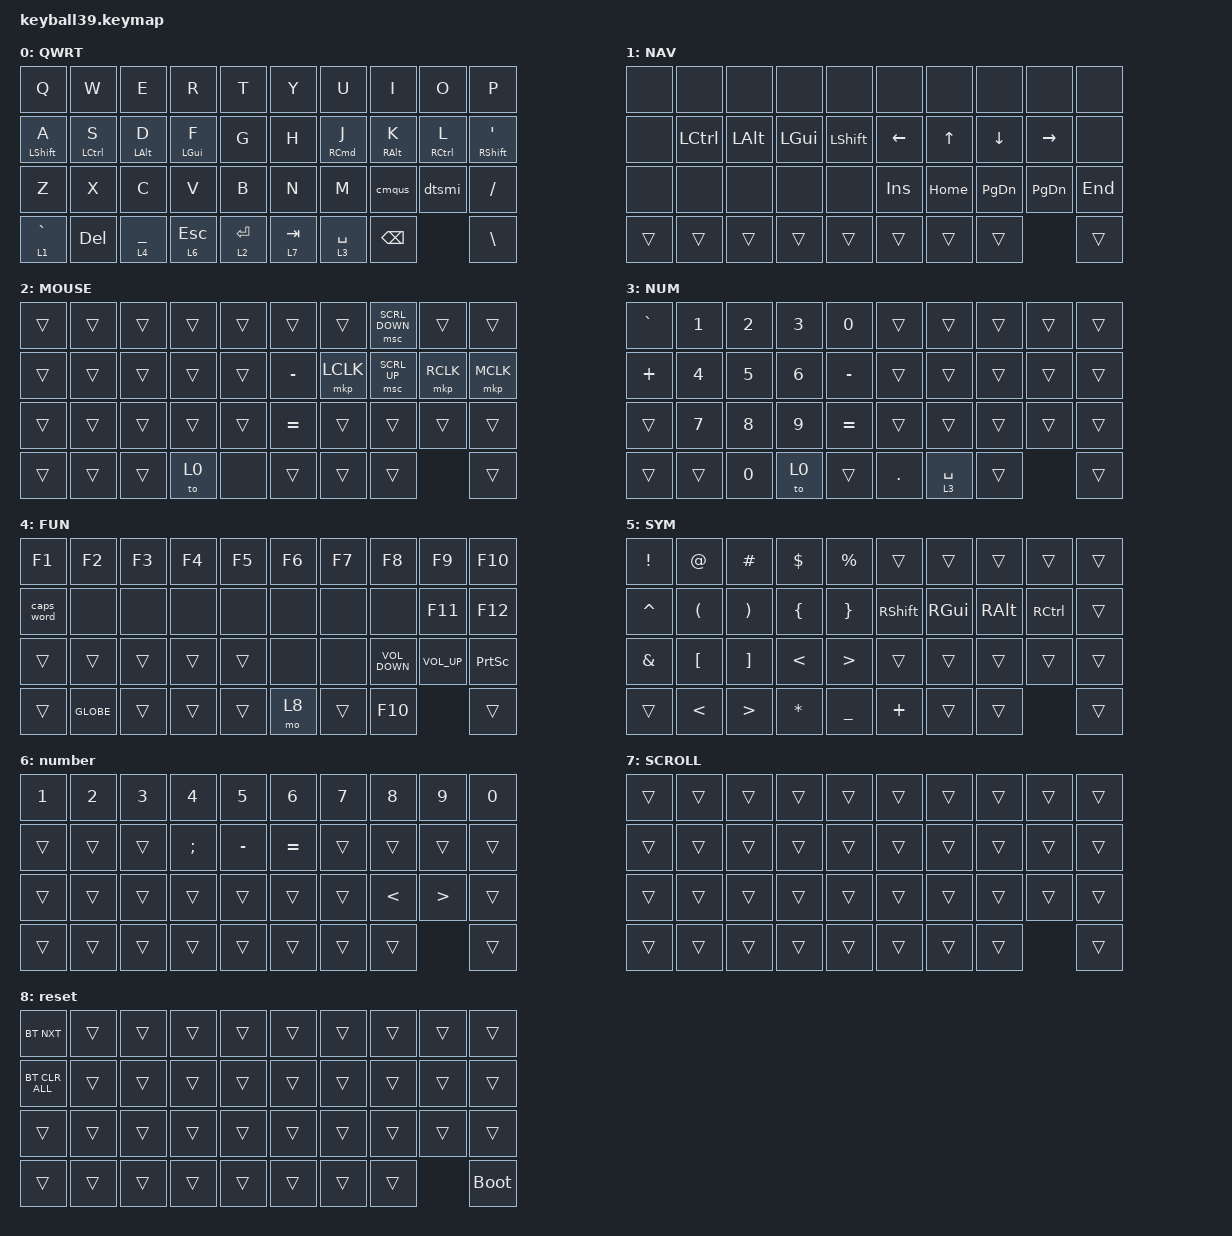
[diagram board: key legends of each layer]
#define DEFAULT 0
#define NUM     1
#define SYM     2
#define FUN     3
#define MOUSE   4
#define SCROLL  5
#define SNIPE   6

#include <behaviors/mouse_keys.dtsi>
#include <dt-bindings/zmk/mouse.h>
#include <behaviors.dtsi>
#include <dt-bindings/zmk/bt.h>
#include <dt-bindings/zmk/keys.h>
#include <dt-bindings/zmk/pointing.h>

&lt {
    tapping-term-ms = <240>;
    flavor = "balanced";
    quick-tap-ms = <150>;
};

&mt {
    tapping-term-ms = <200>;
    flavor = "tap-preferred";
    quick-tap-ms = <150>;
};

&caps_word { continue-list = <UNDERSCORE MINUS>; };

/ {
    // custom shift using mod-morph 

    behaviors {
        cmqus: comma_question {
            compatible = "zmk,behavior-mod-morph";
            label = "COMMA_QUESTION";
            #binding-cells = <0>;
            bindings = <&kp COMMA>, <&kp SEMICOLON>;

            mods = <(MOD_LSFT|MOD_RSFT)>;
        };

        dtsmi: dot_semi {
            compatible = "zmk,behavior-mod-morph";
            label = "DOT_SEMI";
            #binding-cells = <0>;
            bindings = <&kp DOT>, <&kp COLON>;

            mods = <(MOD_LSFT|MOD_RSFT)>;
        };

        left_hmr_tap: left_hmr_tap {
            compatible = "zmk,behavior-hold-tap";
            label = "LEFT_HMR_TAP";
            bindings = <&kp>, <&kp>;

            #binding-cells = <2>;
            tapping-term-ms = <280>;
            flavor = "balanced";
            hold-trigger-key-positions = <5 6 7 8 9 15 16 17 18 19 25 26 27 28 29 37 38 36>;
            quick-tap-ms = <175>;
            require-prior-idle-ms = <175>;
            hold-trigger-on-release;
        };

        right_hmr_tap: right_hmr_tap {
            compatible = "zmk,behavior-hold-tap";
            label = "RIGHT_HMR_TAP";
            bindings = <&kp>, <&kp>;

            #binding-cells = <2>;
            tapping-term-ms = <280>;
            flavor = "balanced";
            hold-trigger-key-positions = <4 0 1 2 3 4 10 11 12 13 14 20 21 22 23 24 30 31 32 33 34 35>;
            quick-tap-ms = <175>;
            require-prior-idle-ms = <175>;
            hold-trigger-on-release;
        };

        nav_modifier_hold: nav_modifier_hold {
            compatible = "zmk,behavior-hold-tap";
            label = "NAV_MODIFIER_HOLD";
            bindings = <&mo>, <&kp>;

            #binding-cells = <2>;
            tapping-term-ms = <150>;
            quick-tap-ms = <150>;
            require-prior-idle-ms = <(-1)>;
            flavor = "balanced";
            hold-trigger-key-positions = <16 15 17 18 19 25 26 27 28 29>;
            hold-while-undecided;
        };

        smart_mouse: smart_mouse {
            compatible = "zmk,behavior-auto-layer";
            #binding-cells = <1>;
            continue-list = <LCLK RCLK UP_ARROW DOWN_ARROW>;
            ignore-modifiers;
        };
    };

    macros {
        Hiragana: Hiragana {
            compatible = "zmk,behavior-macro";
            #binding-cells = <0>;
            bindings = <&kp LC(SPACE)>;
            label = "HIRAGANA";
        };
    };

    combos {
        compatible = "zmk,combos";

        jump_word_left {
            bindings = <&kp RA(LEFT)>;
            key-positions = <16 17>;
            layers = <1>;
            require-prior-idle-ms = <150>;
        };

        jump_word_right {
            bindings = <&kp RA(RIGHT)>;
            key-positions = <17 18>;
            layers = <1>;
            require-prior-idle-ms = <150>;
            slow-release;
        };

        jump_line_right {
            bindings = <&kp RG(RIGHT)>;
            key-positions = <18 19>;
            layers = <1>;
            require-prior-idle-ms = <150>;
        };

        jump_line_left {
            bindings = <&kp RG(LEFT)>;
            key-positions = <15 16>;
            layers = <1>;
            require-prior-idle-ms = <150>;
        };

        left-paren {
            bindings = <&kp LEFT_PARENTHESIS>;
            key-positions = <7 8>;
            layers = <0>;
            require-prior-idle-ms = <150>;
        };

        right-paren {
            bindings = <&kp RIGHT_PARENTHESIS>;
            key-positions = <8 9>;
            layers = <0>;
            require-prior-idle-ms = <150>;
        };

        left-bracket {
            bindings = <&kp LEFT_BRACKET>;
            key-positions = <26 27>;
            layers = <0>;
        };

        right-bracket {
            bindings = <&kp RIGHT_BRACKET>;
            key-positions = <27 28>;
            layers = <0>;
        };

        hash {
            bindings = <&kp HASH>;
            key-positions = <2 3>;
            layers = <0>;
            require-prior-idle-ms = <300>;
            timeout-ms = <65>;
        };

        at-sign {
            bindings = <&kp AT_SIGN>;
            key-positions = <1 2>;
            layers = <0>;
            require-prior-idle-ms = <300>;
            timeout-ms = <65>;
        };
    };

    keymap {
        compatible = "zmk,keymap";

        default_layer {
            label = "QWRT";
            bindings = <
&kp Q                       &kp W                  &kp E                     &kp R                     &kp T                                &kp Y          &kp U                           &kp I                       &kp O                   &kp P
&left_hmr_tap LEFT_SHIFT A  &left_hmr_tap LCTRL S  &left_hmr_tap LEFT_ALT D  &left_hmr_tap LEFT_GUI F  &kp G                                &kp H          &right_hmr_tap RIGHT_COMMAND J  &right_hmr_tap RIGHT_ALT K  &right_hmr_tap RCTRL L  &right_hmr_tap RIGHT_SHIFT SQT
&kp Z                       &kp X                  &kp C                     &kp V                     &kp B                                &kp N          &kp M                           &cmqus                      &dtsmi                  &kp SLASH
&nav_modifier_hold 1 GRAVE  &kp DELETE             &lt 4 UNDERSCORE          &lt 6 ESCAPE              &lt 2 ENTER  &lt 7 TAB  &lt 3 SPACE  &kp BACKSPACE                                                                                      &kp BACKSLASH
            >;
        };

        nav {
            label = "NAV";
            bindings = <
&none   &none      &none     &none     &none                      &none           &none         &none           &none            &none
&none   &kp LCTRL  &kp LALT  &kp LGUI  &kp LSHFT                  &kp LEFT_ARROW  &kp UP_ARROW  &kp DOWN_ARROW  &kp RIGHT_ARROW  &none
&none   &none      &none     &none     &none                      &kp INSERT      &kp HOME      &kp PAGE_DOWN   &kp PAGE_DOWN    &kp END
&trans  &trans     &trans    &trans    &trans     &trans  &trans  &trans                                                         &trans
            >;
        };

        mouse_layer {
            label = "MOUSE";
            bindings = <
&trans  &trans  &trans  &trans  &trans                  &trans     &trans     &msc SCRL_DOWN  &trans     &trans
&trans  &trans  &trans  &trans  &trans                  &kp MINUS  &mkp LCLK  &msc SCRL_UP    &mkp RCLK  &mkp MCLK
&trans  &trans  &trans  &trans  &trans                  &kp EQUAL  &trans     &trans          &trans     &trans
&trans  &trans  &trans  &to 0   &none   &trans  &trans  &trans                                           &trans
            >;
        };

        numpad_layer {
            label = "NUM";
            bindings = <
&kp GRAVE  &kp N1  &kp N2  &kp N3  &kp N0                              &trans  &trans  &trans  &trans  &trans
&kp PLUS   &kp N4  &kp N5  &kp N6  &kp MINUS                           &trans  &trans  &trans  &trans  &trans
&trans     &kp N7  &kp N8  &kp N9  &kp EQUAL                           &trans  &trans  &trans  &trans  &trans
&trans     &trans  &kp N0  &to 0   &trans     &kp PERIOD  &lt 3 SPACE  &trans                          &trans
            >;
        };

        function_layer {
            label = "FUN";
            bindings = <
&kp F1      &kp F2     &kp F3  &kp F4  &kp F5                 &kp F6   &kp F7  &kp F8             &kp F9           &kp F10
&caps_word  &none      &none   &none   &none                  &none    &none   &none              &kp F11          &kp F12
&trans      &trans     &trans  &trans  &trans                 &none    &none   &kp C_VOLUME_DOWN  &kp C_VOLUME_UP  &kp PRINTSCREEN
&trans      &kp GLOBE  &trans  &trans  &trans  &mo 8  &trans  &kp F10                                              &trans
            >;
        };

        sym_layer {
            label = "SYM";
            bindings = <
&kp EXCLAMATION  &kp AT_SIGN           &kp HASH               &kp DOLLAR      &kp PERCENT                         &trans     &trans    &trans    &trans     &trans
&kp CARET        &kp LEFT_PARENTHESIS  &kp RIGHT_PARENTHESIS  &kp LEFT_BRACE  &kp RIGHT_BRACE                     &kp RSHFT  &kp RGUI  &kp RALT  &kp RCTRL  &trans
&kp AMPERSAND    &kp LEFT_BRACKET      &kp RIGHT_BRACKET      &kp LESS_THAN   &kp GREATER_THAN                    &trans     &trans    &trans    &trans     &trans
&trans           &kp LESS_THAN         &kp GREATER_THAN       &kp ASTERISK    &kp UNDERSCORE    &kp PLUS  &trans  &trans                                    &trans
            >;
        };

        number-layer {
            label = "number";
            bindings = <
&kp N1  &kp N2  &kp N3  &kp N4    &kp N5                     &kp N6     &kp N7  &kp N8         &kp N9            &kp N0
&trans  &trans  &trans  &kp SEMI  &kp MINUS                  &kp EQUAL  &trans  &trans         &trans            &trans
&trans  &trans  &trans  &trans    &trans                     &trans     &trans  &kp LESS_THAN  &kp GREATER_THAN  &trans
&trans  &trans  &trans  &trans    &trans     &trans  &trans  &trans                                              &trans
            >;
        };

        scroll_layer {
            label = "SCROLL";
            bindings = <
&trans  &trans  &trans  &trans  &trans                  &trans  &trans  &trans  &trans  &trans
&trans  &trans  &trans  &trans  &trans                  &trans  &trans  &trans  &trans  &trans
&trans  &trans  &trans  &trans  &trans                  &trans  &trans  &trans  &trans  &trans
&trans  &trans  &trans  &trans  &trans  &trans  &trans  &trans                          &trans
            >;
        };

        reset {
            label = "reset";
            bindings = <
&bt BT_NXT      &trans  &trans  &trans  &trans                  &trans  &trans  &trans  &trans  &trans
&bt BT_CLR_ALL  &trans  &trans  &trans  &trans                  &trans  &trans  &trans  &trans  &trans
&trans          &trans  &trans  &trans  &trans                  &trans  &trans  &trans  &trans  &trans
&trans          &trans  &trans  &trans  &trans  &trans  &trans  &trans                          &bootloader
            >;
        };
    };
};
